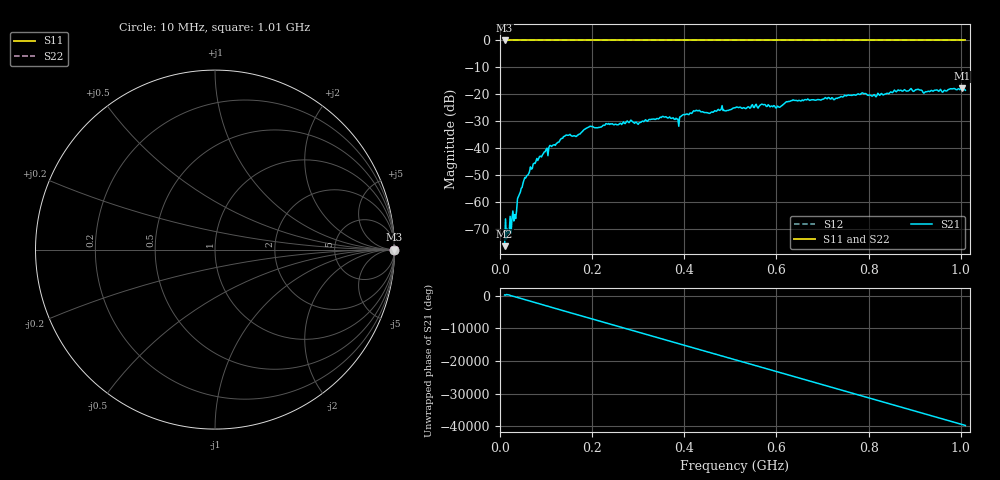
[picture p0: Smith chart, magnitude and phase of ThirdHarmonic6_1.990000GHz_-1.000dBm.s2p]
! 8/16/2025 11:55:21 PM
! C:\ANRITSUVNA\TEMP\TEMP.S2P
! CHANNEL.1
! TR.MEASUREMENT
! RAW.DATA
! RF.CORRECTION.OFF
! AVERAGING.OFF
! IF.BANDWIDTH: 5KHZ
! SWEEPTYPE:  FREQ.SWEEP(Linear)
! Reference Plane Port Info
! PORT:  PORT1  PORT2
! DISTANCE:  0  m  0  m
! TIME:  0  s  0  s
! PHASE.OFFSET:  0  deg.  0  deg.
! LOSS:  0  dB  0  dB
! REF.LOSS:  0  dB  0  dB
! REF.FREQ:  0  Hz  0  Hz
! Power Info
! POWER:  -20  dBm  -20  dBm
! EFF.POWER:  -20  dBm  -20  dBm
! SOURCE.ATTEN:  0  dB  0  dB
! TEST.ATTEN:  0  dB  0  dB
# GHZ S RI R 50.0
! FREQ.GHZ  S11RE  S11IM  S21RE  S21IM  S12RE  S12IM  S22RE  S22IM
!; PortSelection: Port_12
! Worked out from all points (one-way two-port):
!   501 points, 10 MHz to 1.01 GHz, reference 50 ohm
!   highest |S21| = -17.73 dB at 1.002 GHz (marker M1); lowest = -76.2 dB at 10 MHz (marker M2)
!   lowest |S11| = 0.0 dB at 10 MHz (marker M3)
!   |S11| at or under -10 dB: nowhere
!   |S22| runs from 0.0 to 0.0 dB; largest |S21 - S12| = 1.1
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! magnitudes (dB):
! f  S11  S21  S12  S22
! 10 MHz  0.0  -76.2  0.0  0.0
! 34 MHz  0.0  -66.0  0.0  0.0
! 42 MHz  0.0  -57.0  0.0  0.0
! 50 MHz  0.0  -52.8  0.0  0.0
! 76 MHz  0.0  -45.6  0.0  0.0
! 142 MHz  0.0  -35.2  0.0  0.0
! 166 MHz  0.0  -35.6  0.0  0.0
! 178 MHz  0.0  -33.9  0.0  0.0
! 196 MHz  0.0  -31.7  0.0  0.0
! 302 MHz  0.0  -30.5  0.0  0.0
! 344 MHz  0.0  -29.1  0.0  0.0
! 384 MHz  0.0  -29.1  0.0  0.0
! 424 MHz  0.0  -26.1  0.0  0.0
! 454 MHz  0.0  -27.0  0.0  0.0
! 510 MHz  0.0  -24.9  0.0  0.0
! 570 MHz  0.0  -23.7  0.0  0.0
! 602 MHz  0.0  -24.3  0.0  0.0
! 634 MHz  0.0  -22.3  0.0  0.0
! 678 MHz  0.0  -22.0  0.0  0.0
! 844 MHz  0.0  -19.7  0.0  0.0
! 1.002 GHz  0.0  -17.7  0.0  0.0
! 1.01 GHz  0.0  -18.5  0.0  0.0
